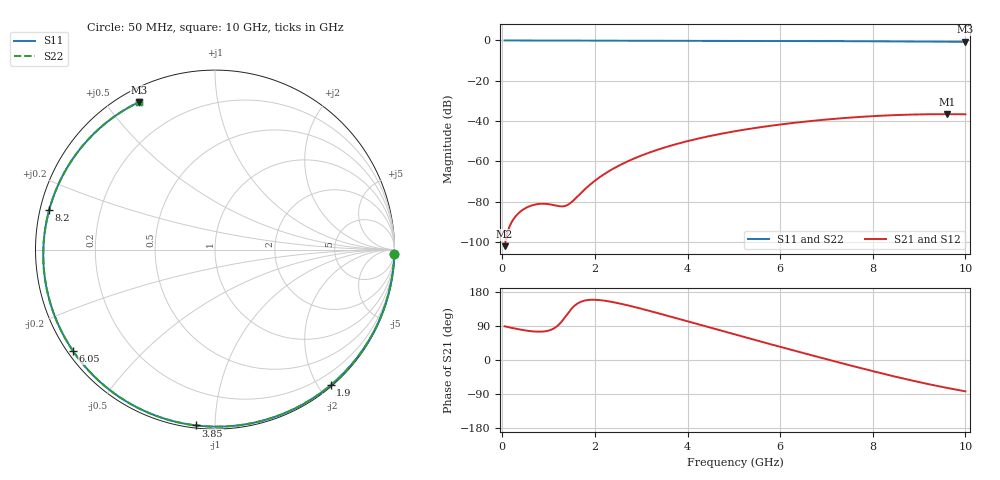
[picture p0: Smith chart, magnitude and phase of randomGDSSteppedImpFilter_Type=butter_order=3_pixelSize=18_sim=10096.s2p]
! freq	dB(S11)	phase(S11)	dB(S12)	phase(S12)
!  dB(S21)	phase(S21)	dB(S22)	phase(S22)
!S-par simulation data
#  GHz  S  DB  R 50
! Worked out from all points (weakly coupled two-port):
!   200 points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, 50 MHz to 10 GHz, reference 50 ohm
!   highest |S21| = -36.59 dB at 9.6 GHz (marker M1); lowest = -102.2 dB at 50 MHz (marker M2)
!   lowest |S11| = -0.7 dB at 10 GHz (marker M3), VSWR 25.50, Z = 2.69 + j30.5 ohm
!   |S11| at or under -10 dB: nowhere
!   |S22| runs from -0.7 to 0.0 dB; largest |S21 - S12| = 0
!   S11 on the Smith chart (normalised r, x): 50 MHz: 0, -85; 1.9 GHz: 0.02, -2.16; 3.85 GHz: 0.01, -0.90; 6.05 GHz: 0.02, -0.32; 8.2 GHz: 0.03, +0.12; 10 GHz: 0.05, +0.61
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0.05  -0.00 -1.3  -102.15 88.9  -102.15 88.9  -0.00 -1.3
0.4  -0.01 -10.7  -84.80 80.0  -84.80 80.0  -0.01 -10.7
0.75  -0.03 -19.9  -81.31 74.8  -81.31 74.8  -0.03 -19.9
1.5  -0.05 -39.4  -80.20 136.0  -80.20 136.0  -0.05 -39.4
1.75  -0.06 -45.8  -74.61 155.9  -74.61 155.9  -0.06 -45.8
1.9  -0.06 -49.6  -71.50 158.8  -71.50 158.8  -0.06 -49.6
2.2  -0.07 -57.1  -66.39 156.7  -66.39 156.7  -0.07 -57.1
2.55  -0.08 -65.7  -61.78 148.7  -61.78 148.7  -0.08 -65.6
2.95  -0.10 -75.3  -57.64 136.9  -57.64 136.9  -0.10 -75.3
3.4  -0.11 -85.9  -53.92 122.3  -53.92 122.3  -0.11 -85.8
3.85  -0.13 -96.2  -50.89 107.2  -50.89 107.2  -0.13 -96.2
4.45  -0.15 -109.7  -47.61 86.8  -47.61 86.8  -0.15 -109.7
5.05  -0.18 -122.9  -44.98 66.5  -44.98 66.5  -0.18 -122.8
5.55  -0.21 -133.7  -43.16 49.7  -43.16 49.7  -0.21 -133.7
6.05  -0.25 -144.6  -41.60 33.1  -41.60 33.1  -0.25 -144.5
6.7  -0.30 -158.8  -39.92 11.8  -39.92 11.8  -0.30 -158.8
7.45  -0.37 -175.6  -38.41 -12.3  -38.41 -12.3  -0.37 -175.6
8.2  -0.45 166.6  -37.35 -35.5  -37.35 -35.5  -0.45 166.6
8.35  -0.46 162.9  -37.19 -39.9  -37.19 -39.9  -0.46 162.9
9  -0.54 146.1  -36.72 -58.3  -36.72 -58.3  -0.54 146.0
9.6  -0.62 129.2  -36.59 -73.6  -36.59 -73.6  -0.62 129.2
10  -0.68 117.2  -36.65 -82.7  -36.65 -82.7  -0.68 117.1
